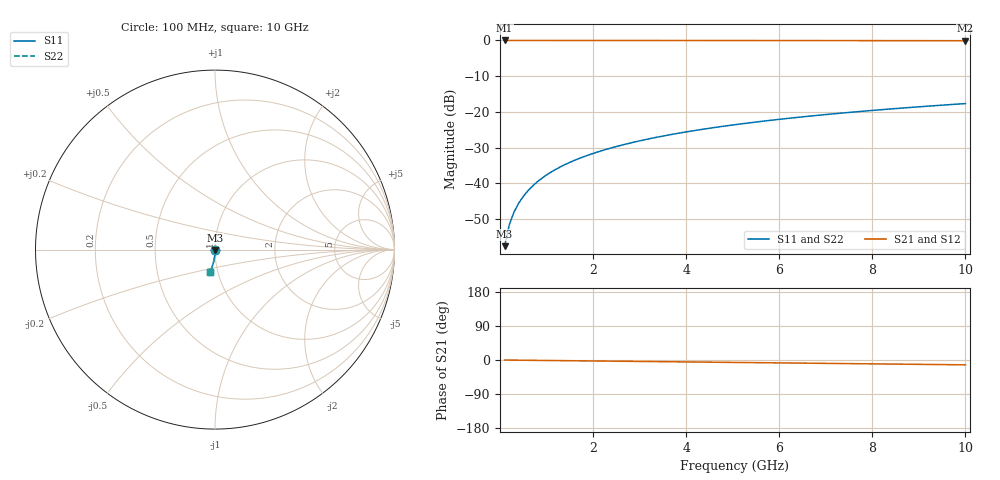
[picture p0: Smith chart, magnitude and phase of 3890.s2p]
# Hz S RI R 50.00
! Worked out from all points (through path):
!   100 points, 100 MHz to 10 GHz, reference 50 ohm
!   highest |S21| = 0.00 dB at 100 MHz (marker M1); lowest = -0.1 dB at 10 GHz (marker M2)
!   group delay of S21, straight-line fit = 3.54 ps
!   lowest |S11| = -57.6 dB at 100 MHz (marker M3), VSWR 1.00, Z = 50 - j0.131 ohm
!   |S11| at or under -10 dB: start of sweep to end of sweep
!   |S22| runs from -57.6 to -17.7 dB; largest |S21 - S12| = 0
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1e8  0.000169 -0.00131  0.9998 -0.00221  0.9998 -0.00221  0.000169 -0.00131
2e8  0.00016 -0.00262  0.9998 -0.00441  0.9998 -0.00441  0.00016 -0.00262
3e8  0.000145 -0.00392  0.9998 -0.00662  0.9998 -0.00662  0.000145 -0.00392
4e8  0.000123 -0.00523  0.9998 -0.00883  0.9998 -0.00883  0.000123 -0.00523
5e8  9.63e-05 -0.00654  0.9997 -0.011  0.9997 -0.011  9.63e-05 -0.00654
6e8  6.34e-05 -0.00785  0.9997 -0.0132  0.9997 -0.0132  6.34e-05 -0.00785
7e8  2.46e-05 -0.00915  0.9996 -0.0154  0.9996 -0.0154  2.46e-05 -0.00915
8e8  -1.99e-05 -0.0105  0.9996 -0.0177  0.9996 -0.0177  -1.99e-05 -0.0105
9e8  -7.03e-05 -0.0118  0.9995 -0.0199  0.9995 -0.0199  -7.03e-05 -0.0118
1.1e9  -0.000188 -0.0144  0.9994 -0.0243  0.9994 -0.0243  -0.000188 -0.0144
1.4e9  -0.000409 -0.0183  0.9991 -0.0309  0.9991 -0.0309  -0.000409 -0.0183
1.8e9  -0.000785 -0.0235  0.9987 -0.0397  0.9987 -0.0397  -0.000785 -0.0235
2.1e9  -0.00113 -0.0275  0.9983 -0.0464  0.9983 -0.0464  -0.00113 -0.0275
2.5e9  -0.00167 -0.0327  0.9977 -0.0552  0.9977 -0.0552  -0.00167 -0.0327
2.9e9  -0.0023 -0.0379  0.997 -0.064  0.997 -0.064  -0.0023 -0.0379
3.4e9  -0.00322 -0.0444  0.9959 -0.0751  0.9959 -0.0751  -0.00322 -0.0444
4.2e9  -0.00499 -0.0548  0.9939 -0.0927  0.9939 -0.0927  -0.00499 -0.0548
5.1e9  -0.00743 -0.0664  0.9911 -0.1125  0.9911 -0.1125  -0.00743 -0.0664
5.9e9  -0.01 -0.0767  0.9882 -0.13  0.9882 -0.13  -0.01 -0.0767
6.7e9  -0.0129 -0.0868  0.9848 -0.1475  0.9848 -0.1475  -0.0129 -0.0868
8.4e9  -0.0203 -0.1081  0.9763 -0.1843  0.9763 -0.1843  -0.0203 -0.1081
1e10  -0.0288 -0.1274  0.9667 -0.2185  0.9667 -0.2185  -0.0288 -0.1274
